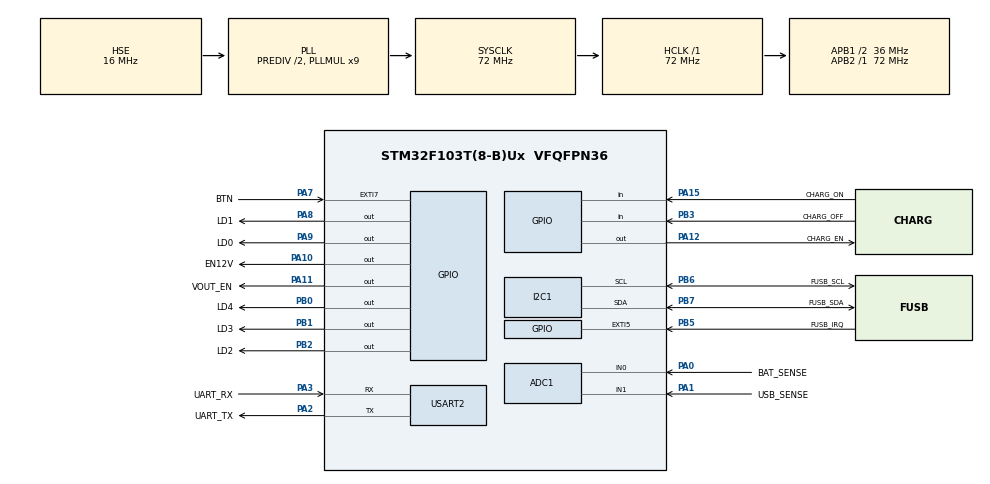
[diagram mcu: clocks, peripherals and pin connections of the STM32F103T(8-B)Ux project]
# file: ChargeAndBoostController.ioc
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ADC1.Channel-1\#ChannelRegularConversion=ADC_CHANNEL_0
ADC1.NbrOfConversionFlag=1
ADC1.Rank-1\#ChannelRegularConversion=1
ADC1.SamplingTime-1\#ChannelRegularConversion=ADC_SAMPLETIME_1CYCLE_5
ADC1.master=1
Dma.I2C1_RX.0.Direction=DMA_PERIPH_TO_MEMORY
Dma.I2C1_RX.0.Instance=DMA1_Channel7
Dma.I2C1_RX.0.MemDataAlignment=DMA_MDATAALIGN_BYTE
Dma.I2C1_RX.0.MemInc=DMA_MINC_ENABLE
Dma.I2C1_RX.0.Mode=DMA_NORMAL
Dma.I2C1_RX.0.PeriphDataAlignment=DMA_PDATAALIGN_BYTE
Dma.I2C1_RX.0.PeriphInc=DMA_PINC_DISABLE
Dma.I2C1_RX.0.Priority=DMA_PRIORITY_LOW
Dma.I2C1_TX.1.Direction=DMA_MEMORY_TO_PERIPH
Dma.I2C1_TX.1.Instance=DMA1_Channel6
Dma.I2C1_TX.1.MemDataAlignment=DMA_MDATAALIGN_BYTE
Dma.I2C1_TX.1.MemInc=DMA_MINC_ENABLE
Dma.I2C1_TX.1.Mode=DMA_NORMAL
Dma.I2C1_TX.1.PeriphDataAlignment=DMA_PDATAALIGN_BYTE
Dma.I2C1_TX.1.PeriphInc=DMA_PINC_DISABLE
Dma.I2C1_TX.1.Priority=DMA_PRIORITY_LOW
Dma.Request0=I2C1_RX
Dma.Request1=I2C1_TX
FREERTOS.Tasks01=defaultTask,0,128,StartDefaultTask,Default,NULL,Dynamic,NULL,NULL
FREERTOS.configTOTAL_HEAP_SIZE=5000
I2C1.I2C_Mode=I2C_Fast
Mcu.Family=STM32F1
Mcu.Name=STM32F103T(8-B)Ux
Mcu.Package=VFQFPN36
NVIC.DMA1_Channel6_IRQn=true\:5\:0\:false\:false\:true\:true\:false\:true\:true
NVIC.DMA1_Channel7_IRQn=true\:5\:0\:false\:false\:true\:true\:false\:true\:true
NVIC.EXTI9_5_IRQn=true\:5\:0\:false\:false\:true\:true\:true\:true\:true
NVIC.I2C1_ER_IRQn=true\:5\:0\:false\:false\:true\:true\:true\:true\:true
NVIC.I2C1_EV_IRQn=true\:5\:0\:false\:false\:true\:true\:true\:true\:true
NVIC.PriorityGroup=NVIC_PRIORITYGROUP_4
NVIC.TIM1_UP_IRQn=true\:5\:0\:false\:false\:true\:true\:true\:true\:true
NVIC.TIM2_IRQn=true\:15\:0\:false\:false\:true\:false\:false\:true\:true
NVIC.TimeBase=TIM2_IRQn
NVIC.TimeBaseIP=TIM2
PA0-WKUP.GPIO_Label=BAT_SENSE
PA0-WKUP.Signal=ADCx_IN0
PA1.GPIO_Label=USB_SENSE
PA1.Signal=ADCx_IN1
PA10.GPIO_Label=EN12V
PA10.Signal=GPIO_Output
PA11.GPIO_Label=VOUT_EN
PA11.Signal=GPIO_Output
PA12.GPIO_Label=CHARG_EN
PA12.PinState=GPIO_PIN_SET
PA12.Signal=GPIO_Output
PA13.Mode=Serial_Wire
PA13.Signal=SYS_JTMS-SWDIO
PA14.Mode=Serial_Wire
PA14.Signal=SYS_JTCK-SWCLK
PA15.GPIO_Label=CHARG_ON
PA15.Signal=GPIO_Input
PA2.GPIO_Label=UART_TX
PA2.Mode=Asynchronous
PA2.Signal=USART2_TX
PA3.GPIO_Label=UART_RX
PA3.Mode=Asynchronous
PA3.Signal=USART2_RX
PA7.GPIO_Label=BTN
PA7.Signal=GPXTI7
PA8.GPIO_Label=LD1
PA8.PinState=GPIO_PIN_SET
PA8.Signal=GPIO_Output
PA9.GPIO_Label=LD0
PA9.PinState=GPIO_PIN_SET
PA9.Signal=GPIO_Output
PB0.GPIO_Label=LD4
PB0.PinState=GPIO_PIN_SET
PB0.Signal=GPIO_Output
PB1.GPIO_Label=LD3
PB1.PinState=GPIO_PIN_SET
PB1.Signal=GPIO_Output
PB2.GPIO_Label=LD2
PB2.PinState=GPIO_PIN_SET
PB2.Signal=GPIO_Output
PB3.GPIO_Label=CHARG_OFF
PB3.Signal=GPIO_Input
PB5.GPIO_Label=FUSB_IRQ
PB5.Signal=GPXTI5
PB6.GPIO_Label=FUSB_SCL
PB6.Mode=I2C
PB6.Signal=I2C1_SCL
PB7.GPIO_Label=FUSB_SDA
PB7.Mode=I2C
PB7.Signal=I2C1_SDA
PD0-OSC_IN.Mode=HSE-External-Oscillator
PD0-OSC_IN.Signal=RCC_OSC_IN
PD1-OSC_OUT.Mode=HSE-External-Oscillator
PD1-OSC_OUT.Signal=RCC_OSC_OUT
ProjectManager.HeapSize=0x200
ProjectManager.StackSize=0x400
ProjectManager.TargetToolchain=STM32CubeIDE
RCC.ADCPresc=RCC_ADCPCLK2_DIV6
RCC.AHBFreq_Value=72000000
RCC.APB1CLKDivider=RCC_HCLK_DIV2
RCC.APB1Freq_Value=36000000
RCC.APB1TimFreq_Value=72000000
RCC.APB2Freq_Value=72000000
RCC.APB2TimFreq_Value=72000000
RCC.HCLKFreq_Value=72000000
RCC.HSEDivPLL=RCC_HSE_PREDIV_DIV2
RCC.HSE_VALUE=16000000
RCC.PLLMUL=RCC_PLL_MUL9
RCC.PLLSourceVirtual=RCC_PLLSOURCE_HSE
RCC.SYSCLKFreq_VALUE=72000000
RCC.SYSCLKSource=RCC_SYSCLKSOURCE_PLLCLK
RCC.USBFreq_Value=72000000
SH.ADCx_IN0.0=ADC1_IN0,IN0
SH.ADCx_IN1.0=ADC1_IN1,IN1
TIM1.Period=1000-1
TIM1.Prescaler=7200-1
USART2.VirtualMode=VM_ASYNC
VP_FREERTOS_VS_CMSIS_V1.Mode=CMSIS_V1
VP_SYS_VS_tim2.Mode=TIM2
VP_TIM1_VS_ClockSourceINT.Mode=Internal
board=custom

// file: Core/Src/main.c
/* USER CODE BEGIN Header */
/**
 ******************************************************************************
 * @file           : main.c
 * @brief          : Main program body
 ******************************************************************************
 * @attention
 *
 * Copyright (c) 2024 STMicroelectronics.
 * All rights reserved.
 *
 * This software is licensed under terms that can be found in the LICENSE file
 * in the root directory of this software component.
 * If no LICENSE file comes with this software, it is provided AS-IS.
 *
 ******************************************************************************
 */
/* USER CODE END Header */
#include "main.h"
#include "cmsis_os.h"
#include "adc.h"
#include "dma.h"
#include "i2c.h"
#include "tim.h"
#include "usart.h"
#include "gpio.h"

/* USER CODE BEGIN Includes */
#include "PDUser.h"
#include "stdio.h"
/* USER CODE END Includes */

/* USER CODE BEGIN PD */
#define DEFAULT_STACK_SIZE 512
/* USER CODE END PD */

/* USER CODE BEGIN PV */
TaskHandle_t h_leds = NULL;
TaskHandle_t h_fusb_302 = NULL;
/* USER CODE END PV */

void SystemClock_Config(void);
void MX_FREERTOS_Init(void);
/* USER CODE BEGIN PFP */

int __io_putchar(int ch){
	HAL_UART_Transmit(&huart2, (uint8_t *)&ch, 1, HAL_MAX_DELAY);
	return ch;
}

void fusb_302_task(void * unused){
	uint8_t FUSB302BMPX_SLV_ADDR = 0b0100010;
	uint8_t fusb_ver = 0;
	HAL_I2C_Mem_Read(&hi2c1,(uint16_t) FUSB302BMPX_SLV_ADDR<<1, 0x01, 8, &fusb_ver, 8, HAL_MAX_DELAY);
	//vTaskDelay(pdMS_TO_TICKS(5000));
	printf("Starting\r\n");
	pd_user_main();
	vTaskDelay(pdMS_TO_TICKS(5000));
	for(;;){

	}
}

void leds_task(void * unused){
	GPIO_TypeDef * GPIO_port[5]={ LD0_GPIO_Port, LD1_GPIO_Port, LD2_GPIO_Port, LD3_GPIO_Port, LD4_GPIO_Port};
	uint16_t GPIO_pins[5]={ LD0_Pin, LD1_Pin, LD2_Pin, LD3_Pin, LD4_Pin};
	vTaskDelay(pdMS_TO_TICKS(5000));
	for(uint8_t led_number=1; led_number<5; led_number++){
		HAL_GPIO_WritePin(GPIO_port[led_number], GPIO_pins[led_number], GPIO_PIN_RESET);
	}
	for(;;){

	}
}
/* USER CODE END PFP */

int main(void)
{

  /* MCU Configuration--------------------------------------------------------*/

  /* Reset of all peripherals, Initializes the Flash interface and the Systick. */
  HAL_Init();

  /* Configure the system clock */
  SystemClock_Config();

  /* Initialize all configured peripherals */
  MX_GPIO_Init();
  MX_DMA_Init();
  MX_I2C1_Init();
  MX_USART2_UART_Init();
  MX_ADC1_Init();
  MX_TIM1_Init();
  /* USER CODE BEGIN 2 */
	HAL_TIM_Base_Start_IT(&htim1);
	BaseType_t ret;
	ret = xTaskCreate(leds_task, "leds_task", DEFAULT_STACK_SIZE, NULL, 1, &h_leds);
	if(ret != pdPASS)
	{
		Error_Handler();
	}
	ret = xTaskCreate(fusb_302_task, "fusb_task", DEFAULT_STACK_SIZE, NULL, 2, &h_fusb_302);
	if(ret != pdPASS)
	{
		Error_Handler();
	}
	vTaskStartScheduler();
  /* USER CODE END 2 */

  /* Call init function for freertos objects (in freertos.c) */
  MX_FREERTOS_Init();

  /* Start scheduler */
  osKernelStart();

  /* We should never get here as control is now taken by the scheduler */
  /* Infinite loop */
	while (1)
	{

	}
}

void SystemClock_Config(void)
{
  RCC_OscInitTypeDef RCC_OscInitStruct = {0};
  RCC_ClkInitTypeDef RCC_ClkInitStruct = {0};
  RCC_PeriphCLKInitTypeDef PeriphClkInit = {0};

  /** Initializes the RCC Oscillators according to the specified parameters
  * in the RCC_OscInitTypeDef structure.
  */
  RCC_OscInitStruct.OscillatorType = RCC_OSCILLATORTYPE_HSE;
  RCC_OscInitStruct.HSEState = RCC_HSE_ON;
  RCC_OscInitStruct.HSEPredivValue = RCC_HSE_PREDIV_DIV2;
  RCC_OscInitStruct.HSIState = RCC_HSI_ON;
  RCC_OscInitStruct.PLL.PLLState = RCC_PLL_ON;
  RCC_OscInitStruct.PLL.PLLSource = RCC_PLLSOURCE_HSE;
  RCC_OscInitStruct.PLL.PLLMUL = RCC_PLL_MUL9;
  if (HAL_RCC_OscConfig(&RCC_OscInitStruct) != HAL_OK)
  {
    Error_Handler();
  }

  /** Initializes the CPU, AHB and APB buses clocks
  */
  RCC_ClkInitStruct.ClockType = RCC_CLOCKTYPE_HCLK|RCC_CLOCKTYPE_SYSCLK
                              |RCC_CLOCKTYPE_PCLK1|RCC_CLOCKTYPE_PCLK2;
  RCC_ClkInitStruct.SYSCLKSource = RCC_SYSCLKSOURCE_PLLCLK;
  RCC_ClkInitStruct.AHBCLKDivider = RCC_SYSCLK_DIV1;
  RCC_ClkInitStruct.APB1CLKDivider = RCC_HCLK_DIV2;
  RCC_ClkInitStruct.APB2CLKDivider = RCC_HCLK_DIV1;

  if (HAL_RCC_ClockConfig(&RCC_ClkInitStruct, FLASH_LATENCY_2) != HAL_OK)
  {
    Error_Handler();
  }
  PeriphClkInit.PeriphClockSelection = RCC_PERIPHCLK_ADC;
  PeriphClkInit.AdcClockSelection = RCC_ADCPCLK2_DIV6;
  if (HAL_RCCEx_PeriphCLKConfig(&PeriphClkInit) != HAL_OK)
  {
    Error_Handler();
  }
}

void HAL_TIM_PeriodElapsedCallback(TIM_HandleTypeDef *htim)
{
  if (htim->Instance == TIM2) {
    HAL_IncTick();
  }
  /* USER CODE BEGIN Callback 1 */
	else if (htim->Instance == TIM1){
		HAL_GPIO_TogglePin(LD0_GPIO_Port, LD0_Pin);
	}
  /* USER CODE END Callback 1 */
}

void Error_Handler(void)
{
	__disable_irq();
	while (1)
	{
	}
}
